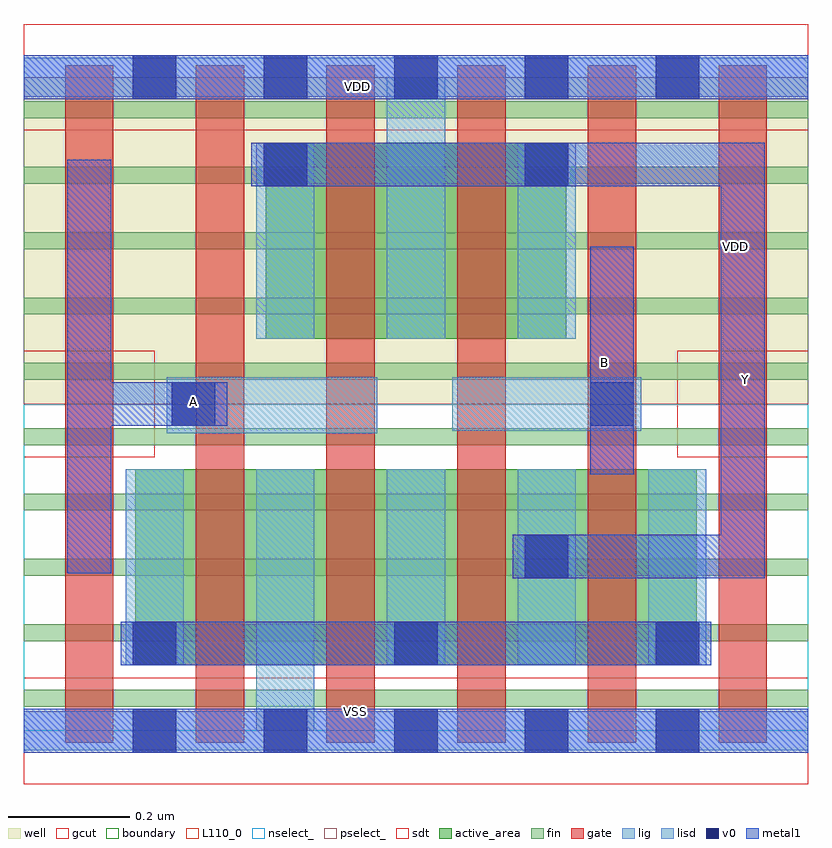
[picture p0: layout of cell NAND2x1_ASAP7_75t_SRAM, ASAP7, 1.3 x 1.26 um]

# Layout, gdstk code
import gdstk
lib = gdstk.Library(unit=1e-6, precision=2.5e-10)
def R(c, l, rs):  # rectangles x0, y0, x1, y1
    for r in rs: c.add(gdstk.rectangle(r[:2], r[2:], *l))
def A(c, l, x, y, w, h, nx, ny, dx, dy):  # array of equal rectangles
    R(c, l, [(x+i*dx, y+j*dy, x+i*dx+w, y+j*dy+h) for i in range(nx) for j in range(ny)])
def P(c, l, *ps):  # polygons
    for p in ps: c.add(gdstk.Polygon(p, *l))
well = (1, 0)
fin = (2, 0)
gate = (7, 0)
gcut = (10, 0)
active_area = (11, 0)
nselect_ = (12, 0)
pselect_ = (13, 0)
lig = (16, 0)
lisd = (17, 0)
v0 = (18, 0)
metal1 = (19, 0)
sdt = (88, 0)
boundary = (100, 0)
L110_0 = (110, 0)

nand2x1_asap7_75t_sram = lib.new_cell('NAND2x1_ASAP7_75t_SRAM')
R(nand2x1_asap7_75t_sram, well, [(0,0.54,1.296,1.08)])
A(nand2x1_asap7_75t_sram, fin, 0, 0.04, 1.296, 0.028, 1, 10, 0, 0.108)
A(nand2x1_asap7_75t_sram, gate, 0.068, -0.02, 0.08, 1.12, 6, 1, 0.216, 0)
R(nand2x1_asap7_75t_sram, gcut, [(0,-0.088,1.296,0.088), (0,0.452,0.216,0.628), (1.08,0.452,1.296,0.628), (0,0.992,1.296,1.168)])
R(nand2x1_asap7_75t_sram, active_area, [(0.184,0.108,1.112,0.432), (0.4,0.648,0.896,0.972)])
R(nand2x1_asap7_75t_sram, nselect_, [(0,0,1.296,0.54)])
R(nand2x1_asap7_75t_sram, pselect_, [(0,0.54,1.296,1.08)])
R(nand2x1_asap7_75t_sram, lig, [(0,-0.032,1.296,0.032), (0.236,0.492,0.584,0.584), (0.708,0.496,1.02,0.584), (0,1.048,1.296,1.112)])
A(nand2x1_asap7_75t_sram, lisd, 0.6, 0.108, 0.096, 0.324, 3, 1, 0.216, 0)
R(nand2x1_asap7_75t_sram, lisd, [(0.384,0,0.48,0.432), (0.168,0.108,0.264,0.432), (0.384,0.648,0.48,0.972), (0.6,0.648,0.696,1.08), (0.816,0.648,0.912,0.972)])
A(nand2x1_asap7_75t_sram, v0, 0.18, -0.036, 0.072, 0.072, 5, 2, 0.216, 1.08)
A(nand2x1_asap7_75t_sram, v0, 0.18, 0.108, 0.072, 0.072, 3, 1, 0.432, 0)
R(nand2x1_asap7_75t_sram, v0, [(0.828,0.252,0.9,0.324), (0.244,0.504,0.316,0.576), (0.936,0.504,1.008,0.576), (0.396,0.9,0.468,0.972), (0.828,0.9,0.9,0.972)])
R(nand2x1_asap7_75t_sram, metal1, [(0,-0.036,1.296,0.036), (0.16,0.108,1.136,0.18), (0.936,0.424,1.008,0.8), (0,1.044,1.296,1.116)])
P(nand2x1_asap7_75t_sram, metal1, [(0.336,0.576),(0.144,0.576),(0.144,0.944),(0.072,0.944),(0.072,0.26),(0.144,0.26),(0.144,0.504),(0.336,0.504)],
  [(1.224,0.972),(0.376,0.972),(0.376,0.9),(1.152,0.9),(1.152,0.324),(0.808,0.324),(0.808,0.252),(1.224,0.252)])
A(nand2x1_asap7_75t_sram, sdt, 0.168, 0.108, 0.096, 0.324, 5, 1, 0.216, 0)
A(nand2x1_asap7_75t_sram, sdt, 0.384, 0.648, 0.096, 0.324, 3, 1, 0.216, 0)
R(nand2x1_asap7_75t_sram, boundary, [(0,0,1.296,1.08)])
R(nand2x1_asap7_75t_sram, L110_0, [(0,0,1.296,1.08)])
nand2x1_asap7_75t_sram.add(gdstk.Label('VSS', (1.452,0.796), layer=3, texttype=251))
nand2x1_asap7_75t_sram.add(gdstk.Label('VDD', (1.176,0.8), layer=1, texttype=251))
nand2x1_asap7_75t_sram.add(gdstk.Label('VSS', (0.548,0.032), layer=19, texttype=251))
nand2x1_asap7_75t_sram.add(gdstk.Label('VDD', (0.552,1.064), layer=19, texttype=251))
nand2x1_asap7_75t_sram.add(gdstk.Label('Y', (1.192,0.58), layer=19, texttype=251))
nand2x1_asap7_75t_sram.add(gdstk.Label('B', (0.96,0.608), layer=19, texttype=251))
nand2x1_asap7_75t_sram.add(gdstk.Label('A', (0.28,0.544), layer=19, texttype=251))

lib.write_gds('NAND2x1_ASAP7_75t_SRAM.gds')
